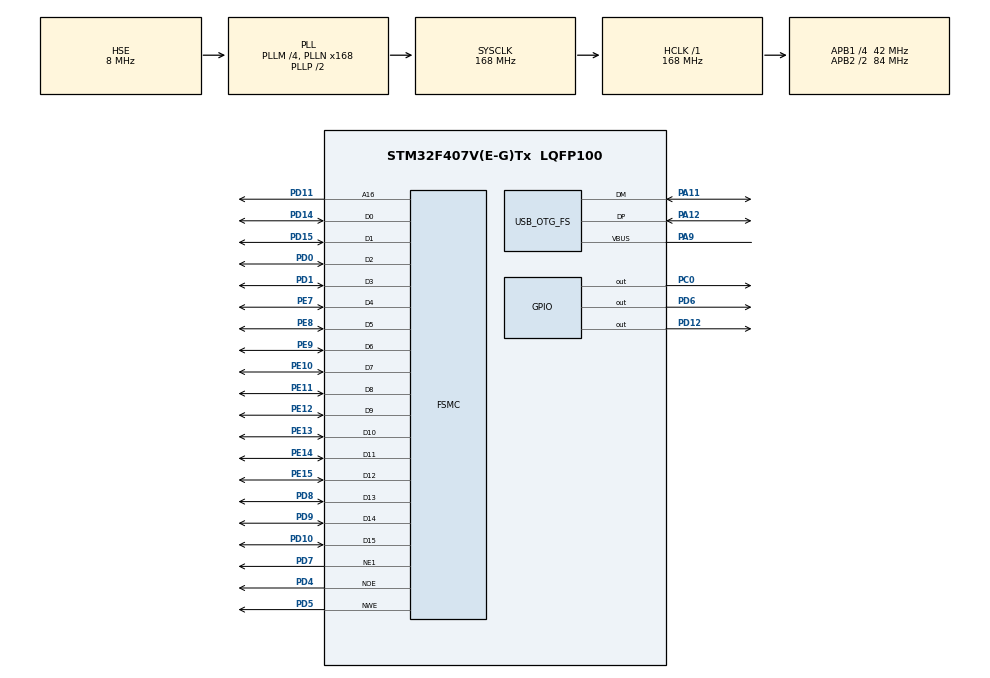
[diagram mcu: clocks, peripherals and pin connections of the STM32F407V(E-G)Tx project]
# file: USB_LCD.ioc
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FATFS._MAX_SS=4096
Mcu.Family=STM32F4
Mcu.Name=STM32F407V(E-G)Tx
Mcu.Package=LQFP100
NVIC.OTG_FS_IRQn=true\:0\:0\:false\:false\:true\:false
NVIC.PriorityGroup=NVIC_PRIORITYGROUP_4
PA11.Mode=Host_Only
PA11.Signal=USB_OTG_FS_DM
PA12.Mode=Host_Only
PA12.Signal=USB_OTG_FS_DP
PA9.Mode=Activate_VBUS
PA9.Signal=USB_OTG_FS_VBUS
PC0.Signal=GPIO_Output
PD0.Mode=16b-d1
PD0.Signal=FSMC_D2
PD1.Mode=16b-d1
PD1.Signal=FSMC_D3
PD10.Mode=16b-d1
PD10.Signal=FSMC_D15
PD11.Mode=A16_1
PD11.Signal=FSMC_A16
PD12.Signal=GPIO_Output
PD14.Mode=16b-d1
PD14.Signal=FSMC_D0
PD15.Mode=16b-d1
PD15.Signal=FSMC_D1
PD4.Mode=Lcd1
PD4.Signal=FSMC_NOE
PD5.Mode=Lcd1
PD5.Signal=FSMC_NWE
PD6.Signal=GPIO_Output
PD7.Mode=NorPsramChipSelect1_1
PD7.Signal=FSMC_NE1
PD8.Mode=16b-d1
PD8.Signal=FSMC_D13
PD9.Mode=16b-d1
PD9.Signal=FSMC_D14
PE10.Mode=16b-d1
PE10.Signal=FSMC_D7
PE11.Mode=16b-d1
PE11.Signal=FSMC_D8
PE12.Mode=16b-d1
PE12.Signal=FSMC_D9
PE13.Mode=16b-d1
PE13.Signal=FSMC_D10
PE14.Mode=16b-d1
PE14.Signal=FSMC_D11
PE15.Mode=16b-d1
PE15.Signal=FSMC_D12
PE7.Mode=16b-d1
PE7.Signal=FSMC_D4
PE8.Mode=16b-d1
PE8.Signal=FSMC_D5
PE9.Mode=16b-d1
PE9.Signal=FSMC_D6
PH0-OSC_IN.Mode=HSE-External-Oscillator
PH0-OSC_IN.Signal=RCC_OSC_IN
PH1-OSC_OUT.Mode=HSE-External-Oscillator
PH1-OSC_OUT.Signal=RCC_OSC_OUT
ProjectManager.HeapSize=0x200
ProjectManager.StackSize=0x400
ProjectManager.TargetToolchain=SW4STM32
RCC.48MHZClocksFreq_Value=48000000
RCC.AHBFreq_Value=168000000
RCC.APB1CLKDivider=RCC_HCLK_DIV4
RCC.APB1Freq_Value=42000000
RCC.APB1TimFreq_Value=84000000
RCC.APB2CLKDivider=RCC_HCLK_DIV2
RCC.APB2Freq_Value=84000000
RCC.APB2TimFreq_Value=168000000
RCC.CortexFreq_Value=168000000
RCC.HCLKFreq_Value=168000000
RCC.HSE_VALUE=8000000
RCC.HSI_VALUE=16000000
RCC.LSE_VALUE=32768
RCC.PLLM=4
RCC.PLLN=168
RCC.PLLQ=7
RCC.SYSCLKFreq_VALUE=168000000
RCC.SYSCLKSource=RCC_SYSCLKSOURCE_PLLCLK
RCC.VCOOutputFreq_Value=336000000
USB_HOST.USBH_HandleTypeDef-MSC_FS=hUsbHostFS
USB_HOST.VirtualModeFS=Msc
USB_OTG_FS.VirtualMode=Host_Only
USB_OTG_FS.phy_itface=HCD_PHY_EMBEDDED
VP_FATFS_VS_USB.Mode=USB
VP_USB_HOST_VS_USB_HOST_MSC_FS.Mode=MSC_FS
board=custom

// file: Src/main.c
/**
  ******************************************************************************
  * @file           : main.c
  * @brief          : Main program body
  ******************************************************************************
  * This notice applies to any and all portions of this file
  * that are not between comment pairs USER CODE BEGIN and
  * USER CODE END. Other portions of this file, whether
  * inserted by the user or by software development tools
  * are owned by their respective copyright owners.
  *
  * Copyright (c) 2018 STMicroelectronics International N.V.
  * All rights reserved.
  *
  * Redistribution and use in source and binary forms, with or without
  * modification, are permitted, provided that the following conditions are met:
  *
  * 1. Redistribution of source code must retain the above copyright notice,
  *    this list of conditions and the following disclaimer.
  * 2. Redistributions in binary form must reproduce the above copyright notice,
  *    this list of conditions and the following disclaimer in the documentation
  *    and/or other materials provided with the distribution.
  * 3. Neither the name of STMicroelectronics nor the names of other
  *    contributors to this software may be used to endorse or promote products
  *    derived from this software without specific written permission.
  * 4. This software, including modifications and/or derivative works of this
  *    software, must execute solely and exclusively on microcontroller or
  *    microprocessor devices manufactured by or for STMicroelectronics.
  * 5. Redistribution and use of this software other than as permitted under
  *    this license is void and will automatically terminate your rights under
  *    this license.
  *
  * THIS SOFTWARE IS PROVIDED BY STMICROELECTRONICS AND CONTRIBUTORS "AS IS"
  * AND ANY EXPRESS, IMPLIED OR STATUTORY WARRANTIES, INCLUDING, BUT NOT
  * LIMITED TO, THE IMPLIED WARRANTIES OF MERCHANTABILITY, FITNESS FOR A
  * PARTICULAR PURPOSE AND NON-INFRINGEMENT OF THIRD PARTY INTELLECTUAL PROPERTY
  * RIGHTS ARE DISCLAIMED TO THE FULLEST EXTENT PERMITTED BY LAW. IN NO EVENT
  * SHALL STMICROELECTRONICS OR CONTRIBUTORS BE LIABLE FOR ANY DIRECT, INDIRECT,
  * INCIDENTAL, SPECIAL, EXEMPLARY, OR CONSEQUENTIAL DAMAGES (INCLUDING, BUT NOT
  * LIMITED TO, PROCUREMENT OF SUBSTITUTE GOODS OR SERVICES; LOSS OF USE, DATA,
  * OR PROFITS; OR BUSINESS INTERRUPTION) HOWEVER CAUSED AND ON ANY THEORY OF
  * LIABILITY, WHETHER IN CONTRACT, STRICT LIABILITY, OR TORT (INCLUDING
  * NEGLIGENCE OR OTHERWISE) ARISING IN ANY WAY OUT OF THE USE OF THIS SOFTWARE,
  * EVEN IF ADVISED OF THE POSSIBILITY OF SUCH DAMAGE.
  *
  ******************************************************************************
  */
#include "main.h"
#include "stm32f4xx_hal.h"
#include "fatfs.h"
#include "usb_host.h"

/* USER CODE BEGIN Includes */
#include "stdio.h"
#include "ili9341.h"

#define  NUMBER_IS_2_POW_K(x)   ((!((x)&((x)-1)))&&((x)>1))  // x is pow(2, k), k=1,2, ...
#define  FT_DIRECT        -1    // Direct transform.
#define  FT_INVERSE        1    // Inverse transform.
/* USER CODE END Includes */

SRAM_HandleTypeDef hsram1;

/* USER CODE BEGIN PV */
/* Private variables ---------------------------------------------------------*/
extern ApplicationTypeDef Appli_state;
FATFS USBDISKFatFs;           /* File system object for USB disk logical drive */

extern USBH_HandleTypeDef hUsbHostFS;

FIL MyFile;
int positionX = 0;

typedef struct
{
  uint32_t   ChunkID;
  uint32_t   FileSize;
  uint32_t   FileFormat;
  uint32_t   SubChunk1ID;
  uint32_t   SubChunk1Size;
  uint16_t   AudioFormat;
  uint16_t   NbrChannels;
  uint32_t   SampleRate;
  uint32_t   ByteRate;
  uint16_t   BlockAlign;
  uint16_t   BitPerSample;
  uint32_t   SubChunk2ID;
  uint32_t   SubChunk2Size;

}WAVE_FormatTypeDef;
WAVE_FormatTypeDef *waveformat;

/* USER CODE END PV */

void SystemClock_Config(void);
static void MX_GPIO_Init(void);
static void MX_FSMC_Init(void);
void MX_USB_HOST_Process(void);

/* USER CODE BEGIN PFP */
/* Private function prototypes -----------------------------------------------*/

/* USER CODE END PFP */

/* USER CODE BEGIN 0 */

void  FFT(float *Rdat, float *Idat, int N, int LogN, int Ft_Flag)
{
	if ((Rdat == NULL) || (Idat == NULL))                  return;
	if ((N > 16384) || (N < 1))                            return;
	if (!NUMBER_IS_2_POW_K(N))                             return;
	if ((LogN < 2) || (LogN > 14))                         return;
	if ((Ft_Flag != FT_DIRECT) && (Ft_Flag != FT_INVERSE)) return;

	register int  i, j, n, k, io, ie, in, nn;
	float         ru, iu, rtp, itp, rtq, itq, rw, iw, sr;

	static const float Rcoef[14] =
	{ -1.0000000000000000F,  0.0000000000000000F,  0.7071067811865475F,
		0.9238795325112867F,  0.9807852804032304F,  0.9951847266721969F,
		0.9987954562051724F,  0.9996988186962042F,  0.9999247018391445F,
		0.9999811752826011F,  0.9999952938095761F,  0.9999988234517018F,
		0.9999997058628822F,  0.9999999264657178F
	};
	static const float Icoef[14] =
	{ 0.0000000000000000F, -1.0000000000000000F, -0.7071067811865474F,
		-0.3826834323650897F, -0.1950903220161282F, -0.0980171403295606F,
		-0.0490676743274180F, -0.0245412285229122F, -0.0122715382857199F,
		-0.0061358846491544F, -0.0030679567629659F, -0.0015339801862847F,
		-0.0007669903187427F, -0.0003834951875714F
	};

	nn = N >> 1;
	ie = N;

	for (int i = 0; i < N; i++) {
		 if (i > 0 && ( (Rdat[i-1] > 0 && Rdat[i+1] > 0 && Rdat[i] < 0) || (Rdat[i-1] <0 && Rdat[i+1] <0 && Rdat[i] > 0 )) ) {
			 Rdat[i] = Rdat[i] * (-1);
		 }
	}
	if(N > LogN) return;
	for (n = 1; n <= LogN; n++)
	{
		rw = Rcoef[LogN - n];
		iw = Icoef[LogN - n];
		if (Ft_Flag == FT_INVERSE) iw = -iw;
		in = ie >> 1;
		ru = 1.0F;
		iu = 0.0F;
		for (j = 0; j<in; j++)
		{
			for (i = j; i<N; i += ie)
			{
				io = i + in;
				rtp = Rdat[i] + Rdat[io];
				itp = Idat[i] + Idat[io];
				rtq = Rdat[i] - Rdat[io];
				itq = Idat[i] - Idat[io];
				Rdat[io] = rtq * ru - itq * iu;
				Idat[io] = itq * ru + rtq * iu;
				Rdat[i] = rtp;
				Idat[i] = itp;
			}

			sr = ru;
			ru = ru * rw - iu * iw;
			iu = iu * rw + sr * iw;
		}

		ie >>= 1;
	}

	for (j = i = 1; i<N; i++)
	{
		if (i < j)
		{
			io = i - 1;
			in = j - 1;
			rtp = Rdat[in];
			itp = Idat[in];
			Rdat[in] = Rdat[io];
			Idat[in] = Idat[io];
			Rdat[io] = rtp;
			Idat[io] = itp;
		}

		k = nn;

		while (k < j)
		{
			j = j - k;
			k >>= 1;
		}

		j = j + k;
	}

	if (Ft_Flag == FT_DIRECT) return;

	rw = 1.0F / N;

	for (i = 0; i<N; i++)
	{
		Rdat[i] *= rw;
		Idat[i] *= rw;
	}

	return;
}

int getFileSize(FILE* inFile)
{
	int fileSize = 0;
	fseek(inFile, 0, SEEK_END);

	fileSize = ftell(inFile);

	fseek(inFile, 0, SEEK_SET);
	return fileSize;
}

void DrawAudioChart(uint8_t data[4096])
{
	float value = 0;

	static float Re[4096];
	static float Im[4096];

	 for (int i = 0; i < 4096; i++)
	 {
		int16_t c = (data[i] << 8) | data[i + 1];
		value = c*60 / 32768; //for chart

		Re[i] = value;
		Im[i] = 0;

	 }

	 FFT(Re, Im, 4096, 12, FT_DIRECT);

	for(int i = 0; i < 4096; i++)
	{
		positionX++;

		if (positionX >= LCD_TFTWIDTH)
		{
			positionX = 0;

			for(int i = 0 ; i < LCD_TFTWIDTH; i++)
			{
				LCD_DrawLine(i, LCD_TFTHEIGHT + 1, i, LCD_TFTHEIGHT/2 , BLACK);
			}
		}

		LCD_DrawLine(positionX, LCD_TFTHEIGHT/1.3f, positionX, LCD_TFTHEIGHT/1.3f + Re[i], YELLOW);
	}
}

void DrawWavHeader(WAVE_FormatTypeDef *waveformat)
{
	LCD_SetTextColor(GREEN);

    char temp_string[100];
	sprintf(temp_string, "FileSize: %lu", (unsigned long)waveformat->FileSize);
	LCD_DisplayStringLine(0, 30, temp_string);

	sprintf(temp_string, "ByteRate: %lu", (unsigned long)waveformat->ByteRate);
	LCD_DisplayStringLine(0, 40, temp_string);

	sprintf(temp_string, "Duration: %lu", (unsigned long) (waveformat->FileSize / waveformat->ByteRate));
	LCD_DisplayStringLine(0, 50, temp_string);

	sprintf(temp_string, "BitPerSample: %lu", (unsigned long)waveformat->BitPerSample);
	LCD_DisplayStringLine(0, 60, temp_string);

	sprintf(temp_string, "SampleRate: %lu", (unsigned long)waveformat->SampleRate);
	LCD_DisplayStringLine(0, 70, temp_string);

	sprintf(temp_string, "NumberOfChannels: %lu", (unsigned long)waveformat->NbrChannels);
	LCD_DisplayStringLine(0, 80, temp_string);

	sprintf(temp_string, "ChunkID: %lu", (unsigned long)waveformat->ChunkID);
	LCD_DisplayStringLine(0, 90, temp_string);
}

void DrawClef(int positionX, int positionY, int number)
{
	if( number == 0)
	{
		LCD_DisplayStringLine(positionX, positionY     , "        ,     ");
		LCD_DisplayStringLine(positionX, positionY + 10, "        |\\    ");
		LCD_DisplayStringLine(positionX, positionY + 20, "        | |   ");
		LCD_DisplayStringLine(positionX, positionY + 30, "        |/    ");
		LCD_DisplayStringLine(positionX, positionY + 40, "      /|_    ");
		LCD_DisplayStringLine(positionX, positionY + 50, "     / |\\   ");
		LCD_DisplayStringLine(positionX, positionY + 60, "    | \\|\_|  ");
		LCD_DisplayStringLine(positionX, positionY + 70, "    \\\-|-/   ");
		LCD_DisplayStringLine(positionX, positionY + 80, "        |     ");
		LCD_DisplayStringLine(positionX, positionY + 90, "    \\-/     ");
	}
	else
	{
		LCD_DisplayStringLine(positionX, positionY     , "         .                __.          ");
		LCD_DisplayStringLine(positionX, positionY + 10, "        / \'-.          ,-','/         ");
		LCD_DisplayStringLine(positionX, positionY + 20, "       (   \ ,'--.__.--'.,' /          ");
		LCD_DisplayStringLine(positionX, positionY + 30, "       =---Y(_i.-'  |-.i_)-=           ");
		LCD_DisplayStringLine(positionX, positionY + 40, "      f ,  '..'/\\v/|/|/\  ,l          ");
		LCD_DisplayStringLine(positionX, positionY + 50, "      l//  ,'|/   V / /||  \\j         ");
		LCD_DisplayStringLine(positionX, positionY + 60, "       '--; / db     db|/---'          ");
		LCD_DisplayStringLine(positionX, positionY + 70, "          | \ YY   , YY//              ");
		LCD_DisplayStringLine(positionX, positionY + 80, "         '.\>_   (_),'' __             ");
		LCD_DisplayStringLine(positionX, positionY + 90, "  LOOK AT ME I'M AN ANIME GIRL !!!!!!!!");
	}

}

void FileRead(void)
{
	FRESULT res;
	uint32_t bytesread;
	uint8_t data[4096];

	LCD_SetTextColor(YELLOW);

	if(f_mount(&USBDISKFatFs, (TCHAR const*)USBHPath, 0) != FR_OK)
	{
		LCD_DisplayStringLine(0, 0, "USB_NOT_FOUND!!!");
	}
	else
	{
		LCD_DisplayStringLine(0, 0, "USB_FOUND");

		if(f_open(&MyFile, "sample3.wav", FA_READ) != FR_OK)
		{
			 LCD_DisplayStringLine(0, 10, "WAV_NOT_FOUND");
		}
		else
		{
			 res = f_read(&MyFile, data, sizeof(data), (void *)&bytesread);

			 if((bytesread == 0) || (res != FR_OK))
			 {
				 LCD_DisplayStringLine(0, 20, "BYTES_NOT_READ");
			 }
			 else
			 {
				 LCD_DisplayStringLine(0, 10, "WAV_FOUND");

				 data[bytesread] = 0;
				 waveformat = (WAVE_FormatTypeDef*)data;

				 DrawWavHeader(waveformat);
				 DrawClef(200, 10, 0);

				 DrawAudioChart(data);

//				 uint32_t BUFFER_SIZE = waveformat->SampleRate * (waveformat->FileSize / waveformat->ByteRate);
//				 uint8_t buffer[BUFFER_SIZE];
//
//				 res = f_read(&MyFile, buffer, sizeof(buffer), (void *)&bytesread);
//
//				 if((bytesread == 0) || (res != FR_OK))
//				 {
//					 Error_Handler();
//				 }
//				 else
//				 {
//					 buffer[bytesread] = 0;
//					 for (int i = 0; i < BUFFER_SIZE; i++)
//					 					{
//					 						int16_t c = (buffer[i] << 8) | buffer[i + 1];
//					 						DrawAudioChart(c*120/32768 , waveformat->ByteRate);
//					 					}
//				 }
//
//				 f_close(&MyFile);
			 }
		}
	}
}

/* USER CODE END 0 */

int main(void)
{

  /* MCU Configuration----------------------------------------------------------*/

  /* Reset of all peripherals, Initializes the Flash interface and the Systick. */
  HAL_Init();

  /* Configure the system clock */
  SystemClock_Config();

  /* Initialize all configured peripherals */
  MX_GPIO_Init();
  MX_USB_HOST_Init();
  MX_FATFS_Init();
  MX_FSMC_Init();
  /* USER CODE BEGIN 2 */
  LCD_Init();
  /* USER CODE END 2 */

  /* Infinite loop */
  /* USER CODE BEGIN WHILE */

  LCD_FillScreen(BLACK);

  while (1)
  {
  /* USER CODE END WHILE */
    MX_USB_HOST_Process();

  /* USER CODE BEGIN 3 */

    if(Appli_state==APPLICATION_START)
    {
        FileRead();
        Appli_state = APPLICATION_IDLE;
    }
    else if(Appli_state==APPLICATION_IDLE)
    {
    }
  }
  /* USER CODE END 3 */

}

void SystemClock_Config(void)
{

  RCC_OscInitTypeDef RCC_OscInitStruct;
  RCC_ClkInitTypeDef RCC_ClkInitStruct;

    /**Configure the main internal regulator output voltage
    */
  __HAL_RCC_PWR_CLK_ENABLE();

  __HAL_PWR_VOLTAGESCALING_CONFIG(PWR_REGULATOR_VOLTAGE_SCALE1);

    /**Initializes the CPU, AHB and APB busses clocks
    */
  RCC_OscInitStruct.OscillatorType = RCC_OSCILLATORTYPE_HSE;
  RCC_OscInitStruct.HSEState = RCC_HSE_ON;
  RCC_OscInitStruct.PLL.PLLState = RCC_PLL_ON;
  RCC_OscInitStruct.PLL.PLLSource = RCC_PLLSOURCE_HSE;
  RCC_OscInitStruct.PLL.PLLM = 4;
  RCC_OscInitStruct.PLL.PLLN = 168;
  RCC_OscInitStruct.PLL.PLLP = RCC_PLLP_DIV2;
  RCC_OscInitStruct.PLL.PLLQ = 7;
  if (HAL_RCC_OscConfig(&RCC_OscInitStruct) != HAL_OK)
  {
    _Error_Handler(__FILE__, __LINE__);
  }

    /**Initializes the CPU, AHB and APB busses clocks
    */
  RCC_ClkInitStruct.ClockType = RCC_CLOCKTYPE_HCLK|RCC_CLOCKTYPE_SYSCLK
                              |RCC_CLOCKTYPE_PCLK1|RCC_CLOCKTYPE_PCLK2;
  RCC_ClkInitStruct.SYSCLKSource = RCC_SYSCLKSOURCE_PLLCLK;
  RCC_ClkInitStruct.AHBCLKDivider = RCC_SYSCLK_DIV1;
  RCC_ClkInitStruct.APB1CLKDivider = RCC_HCLK_DIV4;
  RCC_ClkInitStruct.APB2CLKDivider = RCC_HCLK_DIV2;

  if (HAL_RCC_ClockConfig(&RCC_ClkInitStruct, FLASH_LATENCY_5) != HAL_OK)
  {
    _Error_Handler(__FILE__, __LINE__);
  }

    /**Configure the Systick interrupt time
    */
  HAL_SYSTICK_Config(HAL_RCC_GetHCLKFreq()/1000);

    /**Configure the Systick
    */
  HAL_SYSTICK_CLKSourceConfig(SYSTICK_CLKSOURCE_HCLK);

  /* SysTick_IRQn interrupt configuration */
  HAL_NVIC_SetPriority(SysTick_IRQn, 0, 0);
}

/** Configure pins as
        * Analog
        * Input
        * Output
        * EVENT_OUT
        * EXTI
*/
static void MX_GPIO_Init(void)
{

  GPIO_InitTypeDef GPIO_InitStruct;

  /* GPIO Ports Clock Enable */
  __HAL_RCC_GPIOH_CLK_ENABLE();
  __HAL_RCC_GPIOC_CLK_ENABLE();
  __HAL_RCC_GPIOE_CLK_ENABLE();
  __HAL_RCC_GPIOD_CLK_ENABLE();
  __HAL_RCC_GPIOA_CLK_ENABLE();

  /*Configure GPIO pin Output Level */
  HAL_GPIO_WritePin(GPIOC, GPIO_PIN_0, GPIO_PIN_RESET);

  /*Configure GPIO pin Output Level */
  HAL_GPIO_WritePin(GPIOD, GPIO_PIN_12|GPIO_PIN_6, GPIO_PIN_RESET);

  /*Configure GPIO pin : PC0 */
  GPIO_InitStruct.Pin = GPIO_PIN_0;
  GPIO_InitStruct.Mode = GPIO_MODE_OUTPUT_PP;
  GPIO_InitStruct.Pull = GPIO_NOPULL;
  GPIO_InitStruct.Speed = GPIO_SPEED_FREQ_LOW;
  HAL_GPIO_Init(GPIOC, &GPIO_InitStruct);

  /*Configure GPIO pins : PD12 PD6 */
  GPIO_InitStruct.Pin = GPIO_PIN_12|GPIO_PIN_6;
  GPIO_InitStruct.Mode = GPIO_MODE_OUTPUT_PP;
  GPIO_InitStruct.Pull = GPIO_NOPULL;
  GPIO_InitStruct.Speed = GPIO_SPEED_FREQ_LOW;
  HAL_GPIO_Init(GPIOD, &GPIO_InitStruct);

}

/* FSMC initialization function */
static void MX_FSMC_Init(void)
{
  FSMC_NORSRAM_TimingTypeDef Timing;

  /** Perform the SRAM1 memory initialization sequence
  */
  hsram1.Instance = FSMC_NORSRAM_DEVICE;
  hsram1.Extended = FSMC_NORSRAM_EXTENDED_DEVICE;
  /* hsram1.Init */
  hsram1.Init.NSBank = FSMC_NORSRAM_BANK1;
  hsram1.Init.DataAddressMux = FSMC_DATA_ADDRESS_MUX_DISABLE;
  hsram1.Init.MemoryType = FSMC_MEMORY_TYPE_SRAM;
  hsram1.Init.MemoryDataWidth = FSMC_NORSRAM_MEM_BUS_WIDTH_16;
  hsram1.Init.BurstAccessMode = FSMC_BURST_ACCESS_MODE_DISABLE;
  hsram1.Init.WaitSignalPolarity = FSMC_WAIT_SIGNAL_POLARITY_LOW;
  hsram1.Init.WrapMode = FSMC_WRAP_MODE_DISABLE;
  hsram1.Init.WaitSignalActive = FSMC_WAIT_TIMING_BEFORE_WS;
  hsram1.Init.WriteOperation = FSMC_WRITE_OPERATION_ENABLE;
  hsram1.Init.WaitSignal = FSMC_WAIT_SIGNAL_DISABLE;
  hsram1.Init.ExtendedMode = FSMC_EXTENDED_MODE_DISABLE;
  hsram1.Init.AsynchronousWait = FSMC_ASYNCHRONOUS_WAIT_DISABLE;
  hsram1.Init.WriteBurst = FSMC_WRITE_BURST_DISABLE;
  hsram1.Init.PageSize = FSMC_PAGE_SIZE_NONE;
  /* Timing */
  Timing.AddressSetupTime = 15;
  Timing.AddressHoldTime = 15;
  Timing.DataSetupTime = 255;
  Timing.BusTurnAroundDuration = 15;
  Timing.CLKDivision = 16;
  Timing.DataLatency = 17;
  Timing.AccessMode = FSMC_ACCESS_MODE_A;
  /* ExtTiming */

  if (HAL_SRAM_Init(&hsram1, &Timing, NULL) != HAL_OK)
  {
    _Error_Handler(__FILE__, __LINE__);
  }

}

void _Error_Handler(char *file, int line)
{
  while(1)
  {
  }
}

/************************ (C) COPYRIGHT STMicroelectronics *****END OF FILE****/
